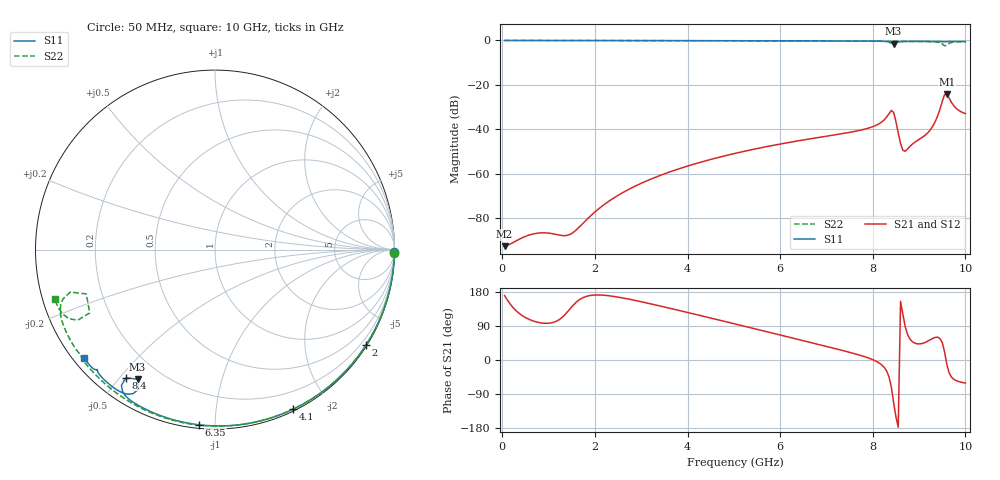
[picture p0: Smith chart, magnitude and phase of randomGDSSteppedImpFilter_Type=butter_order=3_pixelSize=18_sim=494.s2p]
! freq	dB(S11)	phase(S11)	dB(S12)	phase(S12)
!  dB(S21)	phase(S21)	dB(S22)	phase(S22)
!S-par simulation data
#  GHz  S  DB  R 50
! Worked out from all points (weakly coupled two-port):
!   200 points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, 50 MHz to 10 GHz, reference 50 ohm
!   highest |S21| = -24.02 dB at 9.6 GHz (marker M1); lowest = -92.5 dB at 50 MHz (marker M2)
!   lowest |S11| = -1.5 dB at 8.45 GHz (marker M3), VSWR 11.63, Z = 5.67 - j28.1 ohm
!   |S11| at or under -10 dB: nowhere
!   |S22| runs from -2.4 to 0.0 dB; largest |S21 - S12| = 0
!   S11 on the Smith chart (normalised r, x): 50 MHz: open; 2 GHz: 0.03, -3.47; 4.1 GHz: 0.02, -1.60; 6.35 GHz: 0.02, -0.91; 8.4 GHz: 0.09, -0.52; 10 GHz: 0.03, -0.36
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0.05  -0.00 -0.8  -92.46 169.9  -92.46 169.9  -0.00 -0.9
1.75  -0.04 -28.2  -82.02 164.9  -82.02 164.9  -0.04 -32.6
2  -0.04 -32.2  -77.08 171.5  -77.08 171.5  -0.05 -37.2
2.6  -0.05 -41.5  -68.39 163.8  -68.39 163.8  -0.06 -47.9
3.4  -0.07 -53.6  -60.74 142.7  -60.74 142.7  -0.08 -61.9
4.1  -0.09 -64.0  -55.83 122.5  -55.83 122.5  -0.10 -73.7
5.05  -0.12 -77.5  -50.64 94.5  -50.64 94.5  -0.14 -89.2
6.35  -0.17 -95.2  -45.26 55.5  -45.26 55.5  -0.20 -109.6
6.7  -0.19 -99.9  -44.04 44.9  -44.04 44.9  -0.22 -115.0
7.95  -0.29 -116.6  -39.12 3.4  -39.12 3.4  -0.32 -134.1
8.35  -0.74 -124.6  -32.90 -44.1  -32.90 -44.1  -0.38 -140.6
8.4  -1.21 -124.9  -31.47 -70.9  -31.47 -70.9  -0.41 -141.4
8.45  -1.50 -120.8  -32.27 -112.4  -32.27 -112.4  -0.44 -142.0
8.6  -0.55 -120.8  -46.29 154.8  -46.29 154.8  -0.42 -144.1
8.7  -0.45 -122.9  -49.80 88.3  -49.80 88.3  -0.42 -145.8
9.25  -0.43 -131.0  -39.95 54.0  -39.95 54.0  -0.56 -155.9
9.4  -0.47 -133.1  -33.95 60.2  -33.95 60.2  -0.78 -160.1
9.5  -0.54 -134.3  -27.48 46.2  -27.48 46.2  -1.51 -163.6
9.55  -0.58 -134.5  -24.36 21.5  -24.36 21.5  -2.40 -161.0
9.6  -0.53 -134.6  -24.02 -12.1  -24.02 -12.1  -2.14 -153.2
9.8  -0.45 -137.6  -30.48 -54.4  -30.48 -54.4  -0.67 -158.3
10  -0.47 -140.3  -32.87 -60.9  -32.87 -60.9  -0.59 -163.0
